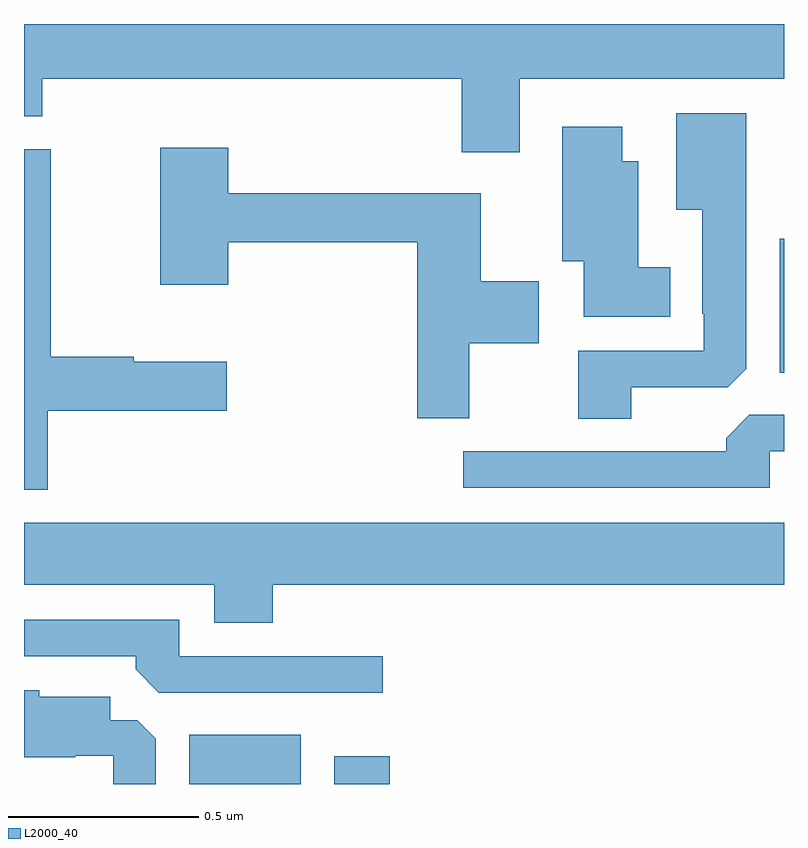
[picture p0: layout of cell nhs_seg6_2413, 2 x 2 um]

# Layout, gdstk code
import gdstk
lib = gdstk.Library(unit=1e-6, precision=1e-09)
def R(c, l, rs):  # rectangles x0, y0, x1, y1
    for r in rs: c.add(gdstk.rectangle(r[:2], r[2:], *l))
def P(c, l, *ps):  # polygons
    for p in ps: c.add(gdstk.Polygon(p, *l))
L2000_40 = (2000, 40)

nhs_seg6_2413 = lib.new_cell('nhs_seg6_2413')
R(nhs_seg6_2413, L2000_40, [(143.435,925.5,143.728,925.63), (143.816,925.5,143.963,925.573), (144.989,926.582,145,926.935)])
P(nhs_seg6_2413, L2000_40, [(144.304,927.356),(145,927.356),(145,927.5),(143,927.5),(143,927.257),(143.048,927.257),(143.048,927.356),(144.152,927.356),(144.152,927.162),(144.304,927.162)],
  [(144.598,926.544),(144.852,926.544),(144.901,926.593),(144.901,927.265),(144.716,927.265),(144.716,927.011),(144.785,927.011),(144.785,926.737),(144.789,926.737),(144.789,926.64),(144.458,926.64),(144.458,926.461),(144.598,926.461)],
  [(144.7,926.86),(144.616,926.86),(144.616,927.139),(144.574,927.139),(144.574,927.229),(144.416,927.229),(144.416,926.876),(144.473,926.876),(144.473,926.729),(144.7,926.729)],
  [(144.172,926.66),(144.355,926.66),(144.355,926.823),(144.202,926.823),(144.202,927.055),(143.537,927.055),(143.537,927.175),(143.359,927.175),(143.359,926.814),(143.537,926.814),(143.537,926.926),(144.035,926.926),(144.035,926.463),(144.172,926.463)],
  [(143.062,926.482),(143.533,926.482),(143.533,926.611),(143.289,926.611),(143.289,926.624),(143.07,926.624),(143.07,927.17),(143,927.17),(143,926.274),(143.062,926.274)],
  [(144.963,926.376),(145,926.376),(145,926.472),(144.909,926.472),(144.848,926.41),(144.848,926.376),(144.156,926.376),(144.156,926.28),(144.963,926.28)],
  [(143.654,926.024),(145,926.024),(145,926.188),(143,926.188),(143,926.024),(143.501,926.024),(143.501,925.925),(143.654,925.925)],
  [(143.944,925.836),(143.409,925.836),(143.409,925.932),(143,925.932),(143,925.836),(143.294,925.836),(143.294,925.802),(143.355,925.74),(143.944,925.74)],
  [(143.347,925.619),(143.298,925.668),(143.227,925.668),(143.227,925.729),(143.04,925.729),(143.04,925.747),(143,925.747),(143,925.571),(143.135,925.571),(143.135,925.575),(143.235,925.575),(143.235,925.5),(143.347,925.5)])

lib.write_gds('nhs_seg6_2413.gds')
